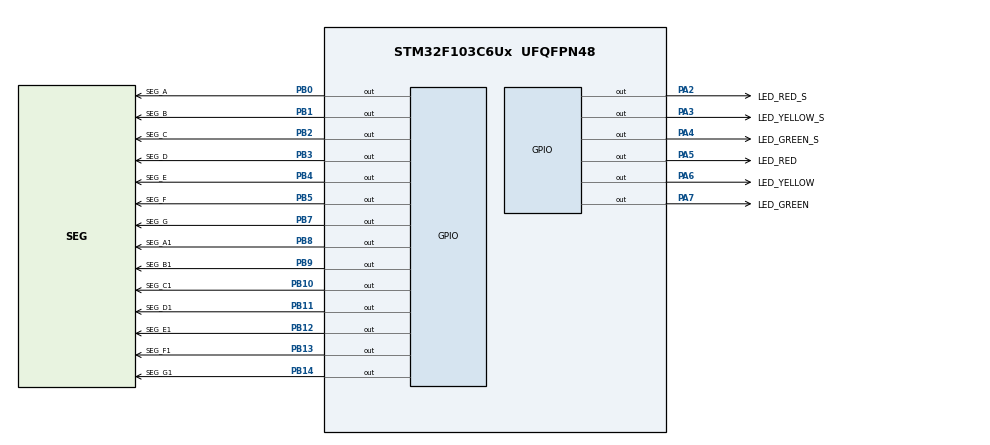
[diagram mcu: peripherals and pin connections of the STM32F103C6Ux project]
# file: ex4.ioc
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Mcu.Family=STM32F1
Mcu.Name=STM32F103C6Ux
Mcu.Package=UFQFPN48
NVIC.PriorityGroup=NVIC_PRIORITYGROUP_4
PA2.GPIO_Label=LED_RED_S
PA2.Signal=GPIO_Output
PA3.GPIO_Label=LED_YELLOW_S
PA3.Signal=GPIO_Output
PA4.GPIO_Label=LED_GREEN_S
PA4.Signal=GPIO_Output
PA5.GPIO_Label=LED_RED
PA5.Signal=GPIO_Output
PA6.GPIO_Label=LED_YELLOW
PA6.Signal=GPIO_Output
PA7.GPIO_Label=LED_GREEN
PA7.Signal=GPIO_Output
PB0.GPIO_Label=SEG_A
PB0.Signal=GPIO_Output
PB1.GPIO_Label=SEG_B
PB1.Signal=GPIO_Output
PB10.GPIO_Label=SEG_C1
PB10.Signal=GPIO_Output
PB11.GPIO_Label=SEG_D1
PB11.Signal=GPIO_Output
PB12.GPIO_Label=SEG_E1
PB12.Signal=GPIO_Output
PB13.GPIO_Label=SEG_F1
PB13.Signal=GPIO_Output
PB14.GPIO_Label=SEG_G1
PB14.Signal=GPIO_Output
PB2.GPIO_Label=SEG_C
PB2.Signal=GPIO_Output
PB3.GPIO_Label=SEG_D
PB3.Signal=GPIO_Output
PB4.GPIO_Label=SEG_E
PB4.Signal=GPIO_Output
PB5.GPIO_Label=SEG_F
PB5.Signal=GPIO_Output
PB7.GPIO_Label=SEG_G
PB7.Signal=GPIO_Output
PB8.GPIO_Label=SEG_A1
PB8.Signal=GPIO_Output
PB9.GPIO_Label=SEG_B1
PB9.Signal=GPIO_Output
ProjectManager.HeapSize=0x200
ProjectManager.StackSize=0x400
ProjectManager.TargetToolchain=STM32CubeIDE
RCC.APB1Freq_Value=8000000
RCC.APB2Freq_Value=8000000
VP_SYS_VS_ND.Mode=No_Debug
board=custom

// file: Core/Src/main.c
/* USER CODE BEGIN Header */
/**
  ******************************************************************************
  * @file           : main.c
  * @brief          : Main program body
  ******************************************************************************
  * @attention
  *
  * <h2><center>&copy; Copyright (c) 2023 STMicroelectronics.
  * All rights reserved.</center></h2>
  *
  * This software component is licensed by ST under BSD 3-Clause license,
  * the "License"; You may not use this file except in compliance with the
  * License. You may obtain a copy of the License at:
  *                        opensource.org/licenses/BSD-3-Clause
  *
  ******************************************************************************
  */
/* USER CODE END Header */
#include "main.h"

/* USER CODE BEGIN Includes */

typedef enum LEDState {OFF, ON} eLEDState;
typedef enum colorState {RED, YELLOW, GREEN} eColorState;

void SetLEDState(GPIO_TypeDef* port, uint16_t pin, eLEDState state) {
    HAL_GPIO_WritePin(port, pin, (state == ON) ?  GPIO_PIN_RESET : GPIO_PIN_SET);
}
// 7 Segments section

void Display7SEG(int num);

/* USER CODE END Includes */

void SystemClock_Config(void);
static void MX_GPIO_Init(void);

int main(void)
{

  /* MCU Configuration--------------------------------------------------------*/

  /* Reset of all peripherals, Initializes the Flash interface and the Systick. */
  HAL_Init();

  /* Configure the system clock */
  SystemClock_Config();

  /* Initialize all configured peripherals */
  MX_GPIO_Init();

  /* Infinite loop */
  /* USER CODE BEGIN WHILE */

  int counter0 = 0;
  eColorState currentState0 = YELLOW;

  int counter1 = 0;
  eColorState currentState1 = RED;

  eColorState nextState0, nextState1;

  while (1)
   {
	  	  SetLEDState(LED_RED_GPIO_Port, LED_RED_Pin, (currentState0 == RED) ? ON : OFF);
		  SetLEDState(LED_YELLOW_GPIO_Port, LED_YELLOW_Pin, (currentState0 == YELLOW) ? ON : OFF);
		  SetLEDState(LED_GREEN_GPIO_Port, LED_GREEN_Pin, (currentState0 == GREEN) ? ON : OFF);
		  Display7SEG(counter0);
		  if (counter0 == 0) {
			  switch (currentState0) {
				  case RED:

					  nextState0 = GREEN;
					  counter0 = 3;
					  break;
				  case YELLOW:
					  nextState0 = RED;
					  counter0 = 5;
					  break;
				  case GREEN:
					  nextState0 = YELLOW;
					  counter0 = 2;
					  break;
				  default:
					  break;
			  }
		  }

		  if (counter0 > 0) {
			  counter0--;
		  }
		  currentState0 = nextState0;

		  SetLEDState(LED_RED_S_GPIO_Port, LED_RED_S_Pin, (currentState1 == RED) ? ON : OFF);
		  SetLEDState(LED_YELLOW_S_GPIO_Port, LED_YELLOW_S_Pin, (currentState1 == YELLOW) ? ON : OFF);
		  SetLEDState(LED_GREEN_S_GPIO_Port, LED_GREEN_S_Pin, (currentState1 == GREEN) ? ON : OFF);
		  Display7SEG1(counter1);
		  if (counter1 == 0) {
			  switch (currentState1) {
				  case RED:
					  currentState1 = GREEN;
					  counter1 = 3;
					  break;
				  case YELLOW:
					  currentState1 = RED;
					  counter1 = 5;
					  break;
				  case GREEN:
					  currentState1 = YELLOW;
					  counter1 = 2;
					  break;
				  default:
					  break;
			  }
		  }

		  if (counter1 > 0) {
			  counter1--;
		  }
		  currentState1 = nextState1;

	  	  HAL_Delay(1000);
	    }
    /* USER CODE END WHILE */

}
void Display7SEG(int num){
	switch (num) {
	case 0:
		HAL_GPIO_WritePin(SEG_A_GPIO_Port, SEG_A_Pin, RESET);
		HAL_GPIO_WritePin(SEG_B_GPIO_Port, SEG_B_Pin, RESET);
		HAL_GPIO_WritePin(SEG_C_GPIO_Port, SEG_C_Pin, RESET);
		HAL_GPIO_WritePin(SEG_D_GPIO_Port, SEG_D_Pin, RESET);
		HAL_GPIO_WritePin(SEG_E_GPIO_Port, SEG_E_Pin, RESET);
		HAL_GPIO_WritePin(SEG_F_GPIO_Port, SEG_F_Pin, RESET);
		HAL_GPIO_WritePin(SEG_G_GPIO_Port, SEG_G_Pin, SET);
		break;
	case 1:
		HAL_GPIO_WritePin(SEG_A_GPIO_Port, SEG_A_Pin, SET);
		HAL_GPIO_WritePin(SEG_B_GPIO_Port, SEG_B_Pin, RESET);
		HAL_GPIO_WritePin(SEG_C_GPIO_Port, SEG_C_Pin, RESET);
		HAL_GPIO_WritePin(SEG_D_GPIO_Port, SEG_D_Pin, SET);
		HAL_GPIO_WritePin(SEG_E_GPIO_Port, SEG_E_Pin, SET);
		HAL_GPIO_WritePin(SEG_F_GPIO_Port, SEG_F_Pin, SET);
		HAL_GPIO_WritePin(SEG_G_GPIO_Port, SEG_G_Pin, SET);
		break;
	case 2:
		HAL_GPIO_WritePin(SEG_A_GPIO_Port, SEG_A_Pin, RESET);
		HAL_GPIO_WritePin(SEG_B_GPIO_Port, SEG_B_Pin, RESET);
		HAL_GPIO_WritePin(SEG_C_GPIO_Port, SEG_C_Pin, SET);
		HAL_GPIO_WritePin(SEG_D_GPIO_Port, SEG_D_Pin, RESET);
		HAL_GPIO_WritePin(SEG_E_GPIO_Port, SEG_E_Pin, RESET);
		HAL_GPIO_WritePin(SEG_F_GPIO_Port, SEG_F_Pin, SET);
		HAL_GPIO_WritePin(SEG_G_GPIO_Port, SEG_G_Pin, RESET);
		break;
	case 3:
		HAL_GPIO_WritePin(SEG_A_GPIO_Port, SEG_A_Pin, RESET);
		HAL_GPIO_WritePin(SEG_B_GPIO_Port, SEG_B_Pin, RESET);
		HAL_GPIO_WritePin(SEG_C_GPIO_Port, SEG_C_Pin, RESET);
		HAL_GPIO_WritePin(SEG_D_GPIO_Port, SEG_D_Pin, RESET);
		HAL_GPIO_WritePin(SEG_E_GPIO_Port, SEG_E_Pin, SET);
		HAL_GPIO_WritePin(SEG_F_GPIO_Port, SEG_F_Pin, SET);
		HAL_GPIO_WritePin(SEG_G_GPIO_Port, SEG_G_Pin, RESET);
		break;
	case 4:
		HAL_GPIO_WritePin(SEG_A_GPIO_Port, SEG_A_Pin, SET);
		HAL_GPIO_WritePin(SEG_B_GPIO_Port, SEG_B_Pin, RESET);
		HAL_GPIO_WritePin(SEG_C_GPIO_Port, SEG_C_Pin, RESET);
		HAL_GPIO_WritePin(SEG_D_GPIO_Port, SEG_D_Pin, SET);
		HAL_GPIO_WritePin(SEG_E_GPIO_Port, SEG_E_Pin, SET);
		HAL_GPIO_WritePin(SEG_F_GPIO_Port, SEG_F_Pin, RESET);
		HAL_GPIO_WritePin(SEG_G_GPIO_Port, SEG_G_Pin, RESET);
		break;
	case 5:
		HAL_GPIO_WritePin(SEG_A_GPIO_Port, SEG_A_Pin, RESET);
		HAL_GPIO_WritePin(SEG_B_GPIO_Port, SEG_B_Pin, SET);
		HAL_GPIO_WritePin(SEG_C_GPIO_Port, SEG_C_Pin, RESET);
		HAL_GPIO_WritePin(SEG_D_GPIO_Port, SEG_D_Pin, RESET);
		HAL_GPIO_WritePin(SEG_E_GPIO_Port, SEG_E_Pin, SET);
		HAL_GPIO_WritePin(SEG_F_GPIO_Port, SEG_F_Pin, RESET);
		HAL_GPIO_WritePin(SEG_G_GPIO_Port, SEG_G_Pin, RESET);
		break;
	case 6:
		HAL_GPIO_WritePin(SEG_A_GPIO_Port, SEG_A_Pin, RESET);
		HAL_GPIO_WritePin(SEG_B_GPIO_Port, SEG_B_Pin, SET);
		HAL_GPIO_WritePin(SEG_C_GPIO_Port, SEG_C_Pin, RESET);
		HAL_GPIO_WritePin(SEG_D_GPIO_Port, SEG_D_Pin, RESET);
		HAL_GPIO_WritePin(SEG_E_GPIO_Port, SEG_E_Pin, RESET);
		HAL_GPIO_WritePin(SEG_F_GPIO_Port, SEG_F_Pin, RESET);
		HAL_GPIO_WritePin(SEG_G_GPIO_Port, SEG_G_Pin, RESET);
		break;
	case 7:
		HAL_GPIO_WritePin(SEG_A_GPIO_Port, SEG_A_Pin, RESET);
		HAL_GPIO_WritePin(SEG_B_GPIO_Port, SEG_B_Pin, RESET);
		HAL_GPIO_WritePin(SEG_C_GPIO_Port, SEG_C_Pin, RESET);
		HAL_GPIO_WritePin(SEG_D_GPIO_Port, SEG_D_Pin, SET);
		HAL_GPIO_WritePin(SEG_E_GPIO_Port, SEG_E_Pin, SET);
		HAL_GPIO_WritePin(SEG_F_GPIO_Port, SEG_F_Pin, SET);
		HAL_GPIO_WritePin(SEG_G_GPIO_Port, SEG_G_Pin, SET);
		break;
	case 8:
		HAL_GPIO_WritePin(SEG_A_GPIO_Port, SEG_A_Pin, RESET);
		HAL_GPIO_WritePin(SEG_B_GPIO_Port, SEG_B_Pin, RESET);
		HAL_GPIO_WritePin(SEG_C_GPIO_Port, SEG_C_Pin, RESET);
		HAL_GPIO_WritePin(SEG_D_GPIO_Port, SEG_D_Pin, RESET);
		HAL_GPIO_WritePin(SEG_E_GPIO_Port, SEG_E_Pin, RESET);
		HAL_GPIO_WritePin(SEG_F_GPIO_Port, SEG_F_Pin, RESET);
		HAL_GPIO_WritePin(SEG_G_GPIO_Port, SEG_G_Pin, RESET);
		break;
	case 9:
		HAL_GPIO_WritePin(SEG_A_GPIO_Port, SEG_A_Pin, RESET);
		HAL_GPIO_WritePin(SEG_B_GPIO_Port, SEG_B_Pin, RESET);
		HAL_GPIO_WritePin(SEG_C_GPIO_Port, SEG_C_Pin, RESET);
		HAL_GPIO_WritePin(SEG_D_GPIO_Port, SEG_D_Pin, RESET);
		HAL_GPIO_WritePin(SEG_E_GPIO_Port, SEG_E_Pin, SET);
		HAL_GPIO_WritePin(SEG_F_GPIO_Port, SEG_F_Pin, RESET);
		HAL_GPIO_WritePin(SEG_G_GPIO_Port, SEG_G_Pin, RESET);
		break;
	default:
		break;
	}
}
void Display7SEG1(int num){
	switch (num) {
	case 0:
		HAL_GPIO_WritePin(SEG_A1_GPIO_Port, SEG_A1_Pin, RESET);
		HAL_GPIO_WritePin(SEG_B1_GPIO_Port, SEG_B1_Pin, RESET);
		HAL_GPIO_WritePin(SEG_C1_GPIO_Port, SEG_C1_Pin, RESET);
		HAL_GPIO_WritePin(SEG_D1_GPIO_Port, SEG_D1_Pin, RESET);
		HAL_GPIO_WritePin(SEG_E1_GPIO_Port, SEG_E1_Pin, RESET);
		HAL_GPIO_WritePin(SEG_F1_GPIO_Port, SEG_F1_Pin, RESET);
		HAL_GPIO_WritePin(SEG_G1_GPIO_Port, SEG_G1_Pin, SET);
		break;
	case 1:
		HAL_GPIO_WritePin(SEG_A1_GPIO_Port, SEG_A1_Pin, SET);
		HAL_GPIO_WritePin(SEG_B1_GPIO_Port, SEG_B1_Pin, RESET);
		HAL_GPIO_WritePin(SEG_C1_GPIO_Port, SEG_C1_Pin, RESET);
		HAL_GPIO_WritePin(SEG_D1_GPIO_Port, SEG_D1_Pin, SET);
		HAL_GPIO_WritePin(SEG_E1_GPIO_Port, SEG_E1_Pin, SET);
		HAL_GPIO_WritePin(SEG_F1_GPIO_Port, SEG_F1_Pin, SET);
		HAL_GPIO_WritePin(SEG_G1_GPIO_Port, SEG_G1_Pin, SET);
		break;
	case 2:
		HAL_GPIO_WritePin(SEG_A1_GPIO_Port, SEG_A1_Pin, RESET);
		HAL_GPIO_WritePin(SEG_B1_GPIO_Port, SEG_B1_Pin, RESET);
		HAL_GPIO_WritePin(SEG_C1_GPIO_Port, SEG_C1_Pin, SET);
		HAL_GPIO_WritePin(SEG_D1_GPIO_Port, SEG_D1_Pin, RESET);
		HAL_GPIO_WritePin(SEG_E1_GPIO_Port, SEG_E1_Pin, RESET);
		HAL_GPIO_WritePin(SEG_F1_GPIO_Port, SEG_F1_Pin, SET);
		HAL_GPIO_WritePin(SEG_G1_GPIO_Port, SEG_G1_Pin, RESET);
		break;
	case 3:
		HAL_GPIO_WritePin(SEG_A1_GPIO_Port, SEG_A1_Pin, RESET);
		HAL_GPIO_WritePin(SEG_B1_GPIO_Port, SEG_B1_Pin, RESET);
		HAL_GPIO_WritePin(SEG_C1_GPIO_Port, SEG_C1_Pin, RESET);
		HAL_GPIO_WritePin(SEG_D1_GPIO_Port, SEG_D1_Pin, RESET);
		HAL_GPIO_WritePin(SEG_E1_GPIO_Port, SEG_E1_Pin, SET);
		HAL_GPIO_WritePin(SEG_F1_GPIO_Port, SEG_F1_Pin, SET);
		HAL_GPIO_WritePin(SEG_G1_GPIO_Port, SEG_G1_Pin, RESET);
		break;
	case 4:
		HAL_GPIO_WritePin(SEG_A1_GPIO_Port, SEG_A1_Pin, SET);
		HAL_GPIO_WritePin(SEG_B1_GPIO_Port, SEG_B1_Pin, RESET);
		HAL_GPIO_WritePin(SEG_C1_GPIO_Port, SEG_C1_Pin, RESET);
		HAL_GPIO_WritePin(SEG_D1_GPIO_Port, SEG_D1_Pin, SET);
		HAL_GPIO_WritePin(SEG_E1_GPIO_Port, SEG_E1_Pin, SET);
		HAL_GPIO_WritePin(SEG_F1_GPIO_Port, SEG_F1_Pin, RESET);
		HAL_GPIO_WritePin(SEG_G1_GPIO_Port, SEG_G1_Pin, RESET);
		break;
	case 5:
		HAL_GPIO_WritePin(SEG_A1_GPIO_Port, SEG_A1_Pin, RESET);
		HAL_GPIO_WritePin(SEG_B1_GPIO_Port, SEG_B1_Pin, SET);
		HAL_GPIO_WritePin(SEG_C1_GPIO_Port, SEG_C1_Pin, RESET);
		HAL_GPIO_WritePin(SEG_D1_GPIO_Port, SEG_D1_Pin, RESET);
		HAL_GPIO_WritePin(SEG_E1_GPIO_Port, SEG_E1_Pin, SET);
		HAL_GPIO_WritePin(SEG_F1_GPIO_Port, SEG_F1_Pin, RESET);
		HAL_GPIO_WritePin(SEG_G1_GPIO_Port, SEG_G1_Pin, RESET);
		break;
	case 6:
		HAL_GPIO_WritePin(SEG_A1_GPIO_Port, SEG_A1_Pin, RESET);
		HAL_GPIO_WritePin(SEG_B1_GPIO_Port, SEG_B1_Pin, SET);
		HAL_GPIO_WritePin(SEG_C1_GPIO_Port, SEG_C1_Pin, RESET);
		HAL_GPIO_WritePin(SEG_D1_GPIO_Port, SEG_D1_Pin, RESET);
		HAL_GPIO_WritePin(SEG_E1_GPIO_Port, SEG_E1_Pin, RESET);
		HAL_GPIO_WritePin(SEG_F1_GPIO_Port, SEG_F1_Pin, RESET);
		HAL_GPIO_WritePin(SEG_G1_GPIO_Port, SEG_G1_Pin, RESET);
		break;
	case 7:
		HAL_GPIO_WritePin(SEG_A1_GPIO_Port, SEG_A1_Pin, RESET);
		HAL_GPIO_WritePin(SEG_B1_GPIO_Port, SEG_B1_Pin, RESET);
		HAL_GPIO_WritePin(SEG_C1_GPIO_Port, SEG_C1_Pin, RESET);
		HAL_GPIO_WritePin(SEG_D1_GPIO_Port, SEG_D1_Pin, SET);
		HAL_GPIO_WritePin(SEG_E1_GPIO_Port, SEG_E1_Pin, SET);
		HAL_GPIO_WritePin(SEG_F1_GPIO_Port, SEG_F1_Pin, SET);
		HAL_GPIO_WritePin(SEG_G1_GPIO_Port, SEG_G1_Pin, SET);
		break;
	case 8:
		HAL_GPIO_WritePin(SEG_A1_GPIO_Port, SEG_A1_Pin, RESET);
		HAL_GPIO_WritePin(SEG_B1_GPIO_Port, SEG_B1_Pin, RESET);
		HAL_GPIO_WritePin(SEG_C1_GPIO_Port, SEG_C1_Pin, RESET);
		HAL_GPIO_WritePin(SEG_D1_GPIO_Port, SEG_D1_Pin, RESET);
		HAL_GPIO_WritePin(SEG_E1_GPIO_Port, SEG_E1_Pin, RESET);
		HAL_GPIO_WritePin(SEG_F1_GPIO_Port, SEG_F1_Pin, RESET);
		HAL_GPIO_WritePin(SEG_G1_GPIO_Port, SEG_G1_Pin, RESET);
		break;
	case 9:
		HAL_GPIO_WritePin(SEG_A1_GPIO_Port, SEG_A1_Pin, RESET);
		HAL_GPIO_WritePin(SEG_B1_GPIO_Port, SEG_B1_Pin, RESET);
		HAL_GPIO_WritePin(SEG_C1_GPIO_Port, SEG_C1_Pin, RESET);
		HAL_GPIO_WritePin(SEG_D1_GPIO_Port, SEG_D1_Pin, RESET);
		HAL_GPIO_WritePin(SEG_E1_GPIO_Port, SEG_E1_Pin, SET);
		HAL_GPIO_WritePin(SEG_F1_GPIO_Port, SEG_F1_Pin, RESET);
		HAL_GPIO_WritePin(SEG_G1_GPIO_Port, SEG_G1_Pin, RESET);
		break;
	default:
		break;
	}
}

void SystemClock_Config(void)
{
  RCC_OscInitTypeDef RCC_OscInitStruct = {0};
  RCC_ClkInitTypeDef RCC_ClkInitStruct = {0};

  /** Initializes the RCC Oscillators according to the specified parameters
  * in the RCC_OscInitTypeDef structure.
  */
  RCC_OscInitStruct.OscillatorType = RCC_OSCILLATORTYPE_HSI;
  RCC_OscInitStruct.HSIState = RCC_HSI_ON;
  RCC_OscInitStruct.HSICalibrationValue = RCC_HSICALIBRATION_DEFAULT;
  RCC_OscInitStruct.PLL.PLLState = RCC_PLL_NONE;
  if (HAL_RCC_OscConfig(&RCC_OscInitStruct) != HAL_OK)
  {
    Error_Handler();
  }
  /** Initializes the CPU, AHB and APB buses clocks
  */
  RCC_ClkInitStruct.ClockType = RCC_CLOCKTYPE_HCLK|RCC_CLOCKTYPE_SYSCLK
                              |RCC_CLOCKTYPE_PCLK1|RCC_CLOCKTYPE_PCLK2;
  RCC_ClkInitStruct.SYSCLKSource = RCC_SYSCLKSOURCE_HSI;
  RCC_ClkInitStruct.AHBCLKDivider = RCC_SYSCLK_DIV1;
  RCC_ClkInitStruct.APB1CLKDivider = RCC_HCLK_DIV1;
  RCC_ClkInitStruct.APB2CLKDivider = RCC_HCLK_DIV1;

  if (HAL_RCC_ClockConfig(&RCC_ClkInitStruct, FLASH_LATENCY_0) != HAL_OK)
  {
    Error_Handler();
  }
}

static void MX_GPIO_Init(void)
{
  GPIO_InitTypeDef GPIO_InitStruct = {0};

  /* GPIO Ports Clock Enable */
  __HAL_RCC_GPIOA_CLK_ENABLE();
  __HAL_RCC_GPIOB_CLK_ENABLE();

  /*Configure GPIO pin Output Level */
  HAL_GPIO_WritePin(GPIOA, LED_RED_S_Pin|LED_YELLOW_S_Pin|LED_GREEN_S_Pin|LED_RED_Pin
                          |LED_YELLOW_Pin|LED_GREEN_Pin, GPIO_PIN_RESET);

  /*Configure GPIO pin Output Level */
  HAL_GPIO_WritePin(GPIOB, SEG_A_Pin|SEG_B_Pin|SEG_C_Pin|SEG_C1_Pin
                          |SEG_D1_Pin|SEG_E1_Pin|SEG_F1_Pin|SEG_G1_Pin
                          |SEG_D_Pin|SEG_E_Pin|SEG_F_Pin|SEG_G_Pin
                          |SEG_A1_Pin|SEG_B1_Pin, GPIO_PIN_RESET);

  /*Configure GPIO pins : LED_RED_S_Pin LED_YELLOW_S_Pin LED_GREEN_S_Pin LED_RED_Pin
                           LED_YELLOW_Pin LED_GREEN_Pin */
  GPIO_InitStruct.Pin = LED_RED_S_Pin|LED_YELLOW_S_Pin|LED_GREEN_S_Pin|LED_RED_Pin
                          |LED_YELLOW_Pin|LED_GREEN_Pin;
  GPIO_InitStruct.Mode = GPIO_MODE_OUTPUT_PP;
  GPIO_InitStruct.Pull = GPIO_NOPULL;
  GPIO_InitStruct.Speed = GPIO_SPEED_FREQ_LOW;
  HAL_GPIO_Init(GPIOA, &GPIO_InitStruct);

  /*Configure GPIO pins : SEG_A_Pin SEG_B_Pin SEG_C_Pin SEG_C1_Pin
                           SEG_D1_Pin SEG_E1_Pin SEG_F1_Pin SEG_G1_Pin
                           SEG_D_Pin SEG_E_Pin SEG_F_Pin SEG_G_Pin
                           SEG_A1_Pin SEG_B1_Pin */
  GPIO_InitStruct.Pin = SEG_A_Pin|SEG_B_Pin|SEG_C_Pin|SEG_C1_Pin
                          |SEG_D1_Pin|SEG_E1_Pin|SEG_F1_Pin|SEG_G1_Pin
                          |SEG_D_Pin|SEG_E_Pin|SEG_F_Pin|SEG_G_Pin
                          |SEG_A1_Pin|SEG_B1_Pin;
  GPIO_InitStruct.Mode = GPIO_MODE_OUTPUT_PP;
  GPIO_InitStruct.Pull = GPIO_NOPULL;
  GPIO_InitStruct.Speed = GPIO_SPEED_FREQ_LOW;
  HAL_GPIO_Init(GPIOB, &GPIO_InitStruct);

}

void Error_Handler(void)
{
  __disable_irq();
  while (1)
  {
  }
}

/************************ (C) COPYRIGHT STMicroelectronics *****END OF FILE****/
